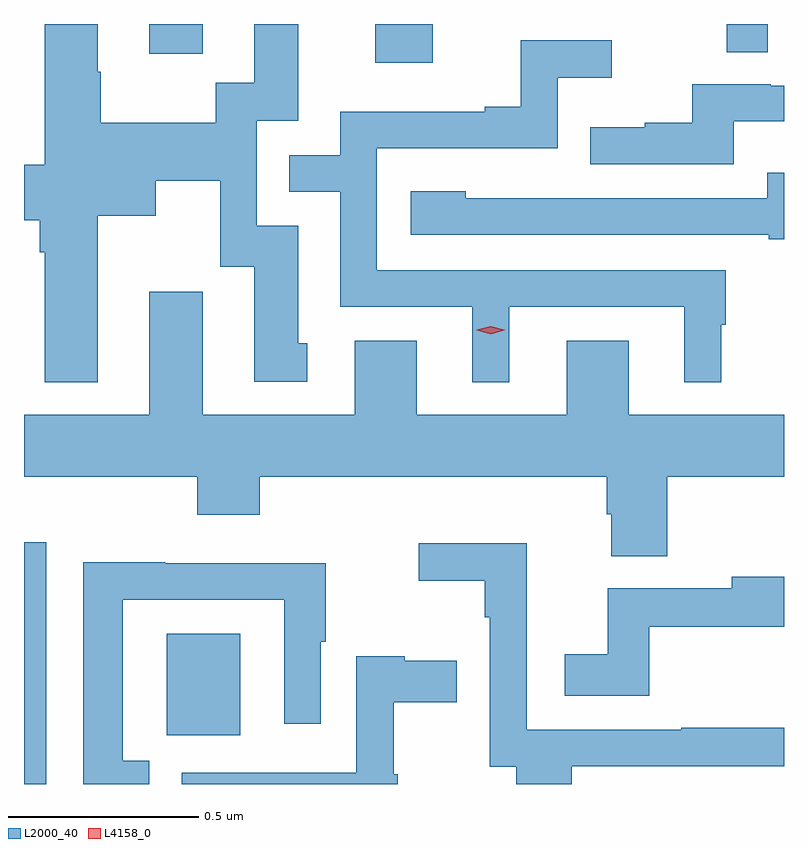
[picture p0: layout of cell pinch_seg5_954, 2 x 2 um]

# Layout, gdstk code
import gdstk
lib = gdstk.Library(unit=1e-6, precision=1e-09)
def R(c, l, rs):  # rectangles x0, y0, x1, y1
    for r in rs: c.add(gdstk.rectangle(r[:2], r[2:], *l))
def P(c, l, *ps):  # polygons
    for p in ps: c.add(gdstk.Polygon(p, *l))
L2000_40 = (2000, 40)
L4158_0 = (4158, 0)

pinch_seg5_954 = lib.new_cell('pinch_seg5_954')
R(pinch_seg5_954, L2000_40, [(658.439,889.252,658.497,889.888), (658.814,889.38,659.008,889.648), (659.363,891.15,659.515,891.252), (658.769,891.174,658.909,891.252), (660.288,891.178,660.396,891.252)])
P(pinch_seg5_954, L2000_40, [(658.633,890.747),(658.786,890.747),(658.786,890.84),(658.956,890.84),(658.956,890.613),(659.045,890.613),(659.045,890.31),(659.185,890.31),(659.185,890.412),(659.161,890.412),(659.161,890.721),(659.052,890.721),(659.052,890.997),(659.161,890.997),(659.161,891.252),(659.045,891.252),(659.045,891.098),(658.944,891.098),(658.944,890.992),(658.641,890.992),(658.641,891.126),(658.633,891.126),(658.633,891.252),(658.493,891.252),(658.493,890.882),(658.439,890.882),(658.439,890.735),(658.481,890.735),(658.481,890.651),(658.493,890.651),(658.493,890.309),(658.633,890.309)],
  [(659.716,890.508),(660.176,890.508),(660.176,890.309),(660.274,890.309),(660.274,890.46),(660.286,890.46),(660.286,890.604),(659.367,890.604),(659.367,890.925),(659.844,890.925),(659.844,891.11),(659.986,891.11),(659.986,891.209),(659.746,891.209),(659.746,891.034),(659.651,891.034),(659.651,891.021),(659.271,891.021),(659.271,890.907),(659.137,890.907),(659.137,890.811),(659.271,890.811),(659.271,890.508),(659.618,890.508),(659.618,890.309),(659.716,890.309)],
  [(660.307,890.996),(660.439,890.996),(660.439,891.09),(660.404,891.09),(660.404,891.093),(660.197,891.093),(660.197,890.992),(660.073,890.992),(660.073,890.98),(659.929,890.98),(659.929,890.883),(660.307,890.883)],
  [(660.439,890.86),(660.395,890.86),(660.395,890.793),(659.837,890.793),(659.837,890.794),(659.601,890.794),(659.601,890.812),(659.457,890.812),(659.457,890.697),(660.399,890.697),(660.399,890.685),(660.439,890.685)],
  [(660.132,890.06),(660.439,890.06),(660.439,890.224),(660.031,890.224),(660.031,890.419),(659.867,890.419),(659.867,890.224),(659.473,890.224),(659.473,890.419),(659.309,890.419),(659.309,890.224),(658.909,890.224),(658.909,890.548),(658.769,890.548),(658.769,890.224),(658.439,890.224),(658.439,890.06),(658.895,890.06),(658.895,889.961),(659.06,889.961),(659.06,890.06),(659.972,890.06),(659.972,889.962),(659.984,889.962),(659.984,889.852),(660.132,889.852)],
  [(659.881,889.299),(660.439,889.299),(660.439,889.4),(660.169,889.4),(660.169,889.395),(659.762,889.395),(659.762,889.885),(659.478,889.885),(659.478,889.787),(659.652,889.787),(659.652,889.691),(659.664,889.691),(659.664,889.297),(659.734,889.297),(659.734,889.252),(659.881,889.252)],
  [(658.769,889.313),(658.699,889.313),(658.699,889.737),(659.124,889.737),(659.124,889.41),(659.22,889.41),(659.22,889.626),(659.233,889.626),(659.233,889.833),(658.811,889.833),(658.811,889.836),(658.595,889.836),(658.595,889.252),(658.769,889.252)],
  [(660.085,889.666),(660.439,889.666),(660.439,889.798),(660.302,889.798),(660.302,889.767),(659.975,889.767),(659.975,889.594),(659.862,889.594),(659.862,889.484),(660.085,889.484)],
  [(659.422,889.278),(659.412,889.278),(659.412,889.467),(659.578,889.467),(659.578,889.577),(659.441,889.577),(659.441,889.588),(659.313,889.588),(659.313,889.281),(658.854,889.281),(658.854,889.252),(659.422,889.252)])
P(pinch_seg5_954, L4158_0, [(659.667,890.436),(659.631,890.446),(659.631,890.446),(659.631,890.447),(659.667,890.456),(659.703,890.447),(659.703,890.446),(659.703,890.446)])

lib.write_gds('pinch_seg5_954.gds')
